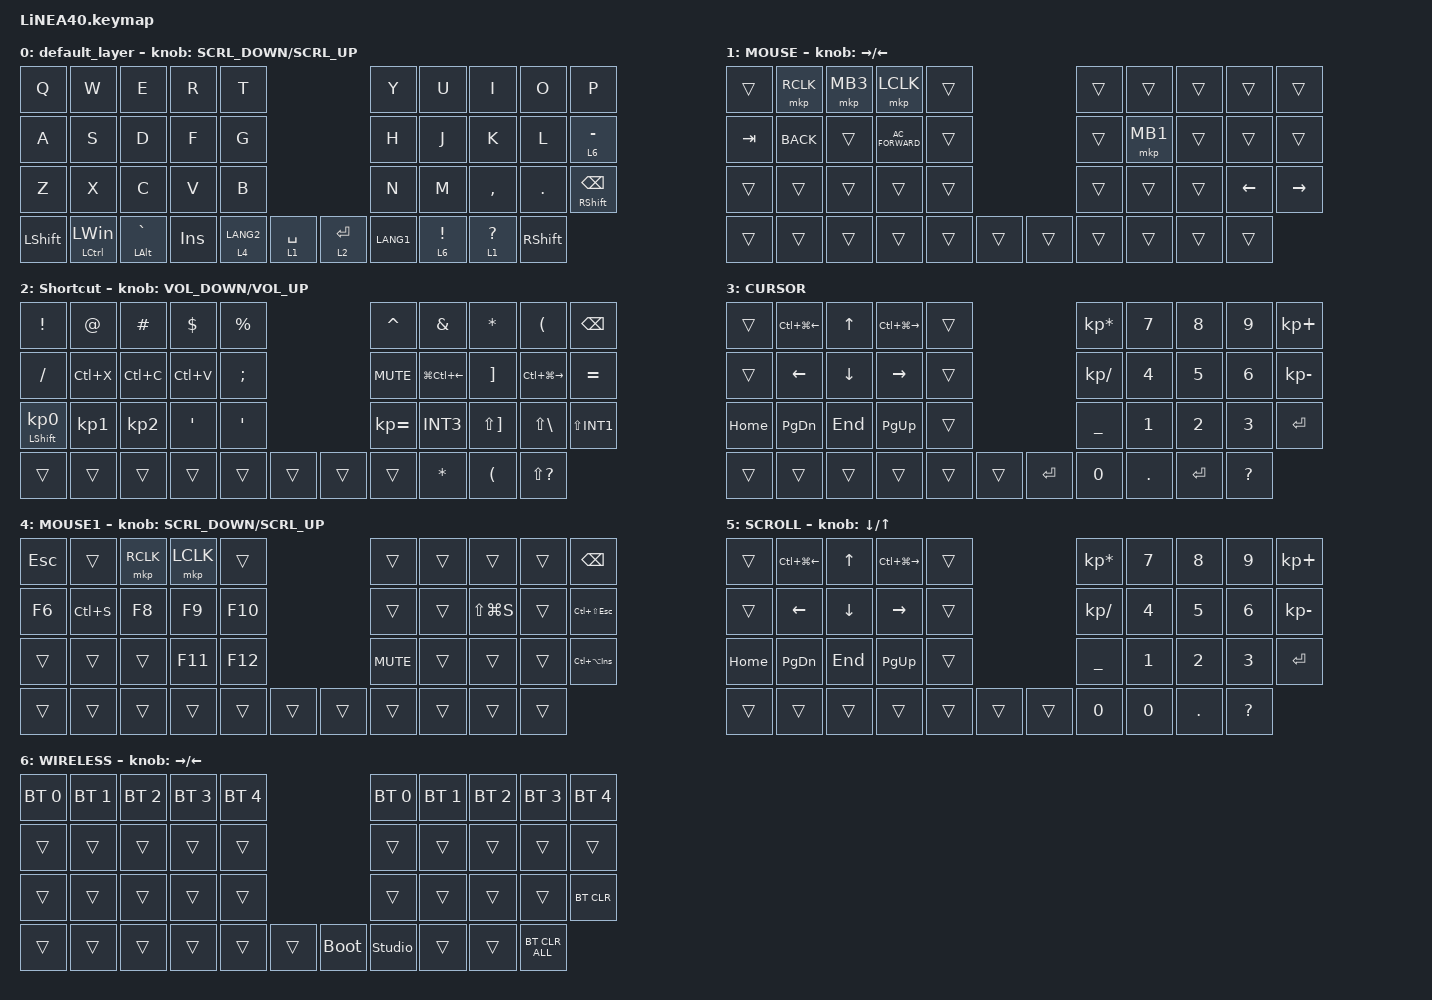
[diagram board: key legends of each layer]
#define ZMK_POINTING_DEFAULT_SCRL_VAL 150

#include <dt-bindings/zmk/input_transform.h>
#include <input/processors.dtsi>
#include <zephyr/dt-bindings/input/input-event-codes.h>
#include <behaviors.dtsi>
#include <dt-bindings/zmk/bt.h>
#include <dt-bindings/zmk/keys.h>
#include <dt-bindings/zmk/pointing.h>

#define MOUSE 1
#define MARK 2
#define CURSOR 3
#define FUNCTION 4
#define SCROLL 5
#define WIRELESS 6

//mouse cursol

&mmv {
    delay-ms = <20>;
    trigger-period-ms = <5>;
    time-to-max-speed-ms = <100>;
    acceleration-exponent = <2>;
};

//mouse scroll

&msc {
    delay-ms = <3>;
    trigger-period-ms = <3>;
    time-to-max-speed-ms = <100>;
    acceleration-exponent = <0>;
};

/ {
    input_processors {
        zip_wheel_scaler: zip_wheel_scaler {
            compatible = "zmk,input-processor-scaler";
            #input-processor-cells = <2>;
            type = <INPUT_EV_REL>;
            codes = <INPUT_REL_WHEEL>;
            track-remainders;
        };
    };
};

&msc_input_listener {
    speed_up {
        layers = <FUNCTION>;
        input-processors = <&zip_wheel_scaler 3 1>; //スクロールを3倍速にする
    };
};

&trackball_listener {
    scroller {
        layers = <SCROLL>;
        input-processors =
            <&zip_xy_transform INPUT_TRANSFORM_Y_INVERT>,
            //スクロール方向を逆転,,,,,,,,,,,,,,,,,,,
            <&zip_xy_to_scroll_mapper>;
    };
};

/ {
    combos {
        compatible = "zmk,combos";

        DeleteKey {
            bindings = <&kp DEL>;
            key-positions = <7 8>;
        };

        InsertKey {
            bindings = <&kp INS>;
            key-positions = <6 7>;
        };

        CenterClick {
            bindings = <&mkp MB3>;
            key-positions = <17 16>;
        };

        RightClick {
            bindings = <&mkp MB2>;
            key-positions = <18 17>;
        };

        PrevClick {
            bindings = <&mkp MB4>;
            key-positions = <27 28>;
        };

        ClickNext {
            bindings = <&mkp MB5>;
            key-positions = <26 27>;
        };

        kana {
            bindings = <&kp INT_KANA>;
            key-positions = <12 13>;
        };

        eisuu {
            bindings = <&kp INTERNATIONAL_5>;
            key-positions = <11 12>;
        };

        backspace {
            bindings = <&kp BACKSPACE>;
            key-positions = <8 9>;
        };

        leftclick {
            bindings = <&mkp LCLK>;
            key-positions = <15 16>;
        };
    };

    behaviors {
        re_kp: sensor_rotate_kp {
            compatible = "zmk,behavior-sensor-rotate-var";
            #sensor-binding-cells = <2>;
            bindings = <&kp>, <&kp>;
        };

        mouse_scrl: mouse_wheel_scrl {
            compatible = "zmk,behavior-sensor-rotate-var";
            #sensor-binding-cells = <2>;
            bindings = <&msc>, <&msc>;

            tap-ms = <20>;
        };
    };

    keymap {
        compatible = "zmk,keymap";

        default_layer {
            bindings = <
&kp Q           &kp W                      &kp E               &kp R    &kp T                                    &kp Y      &kp U  &kp I              &kp O           &kp P
&kp A           &kp S                      &kp D               &kp F    &kp G                                    &kp H      &kp J  &kp K              &kp L           &lt 6 MINUS
&kp Z           &kp X                      &kp C               &kp V    &kp B                                    &kp N      &kp M  &kp COMMA          &kp DOT         &mt RIGHT_SHIFT BACKSPACE
&kp LEFT_SHIFT  &mt LEFT_CONTROL LEFT_WIN  &mt LEFT_ALT GRAVE  &kp INS  &lt 4 LANG2  &lt 1 SPACE    &lt 2 ENTER  &kp LANG1         &lt 6 EXCLAMATION  &lt 1 QUESTION  &kp RIGHT_SHIFT
            >;

            sensor-bindings = <&mouse_scrl SCRL_DOWN SCRL_UP>;
        };

        //1

        MOUSE {
            bindings = <
&trans   &mkp RCLK   &mkp MB3  &mkp LCLK         &trans                    &trans  &trans    &trans  &trans    &trans
&kp TAB  &kp K_BACK  &trans    &kp C_AC_FORWARD  &trans                    &trans  &mkp MB1  &trans  &trans    &trans
&trans   &trans      &trans    &trans            &trans                    &trans  &trans    &trans  &kp LEFT  &kp RIGHT
&trans   &trans      &trans    &trans            &trans  &trans    &trans  &trans            &trans  &trans    &trans
            >;

            sensor-bindings = <&inc_dec_kp RIGHT LEFT>;
        };

        //2

        Shortcut {
            bindings = <
&kp EXCLAMATION             &kp AT           &kp HASH         &kp DOLLAR  &kp PERCENT                      &kp CARET     &kp AMPERSAND           &kp ASTERISK           &kp LEFT_PARENTHESIS     &kp BACKSPACE
&kp SLASH                   &kp LC(X)        &kp LC(C)        &kp LC(V)   &kp SEMICOLON                    &kp C_MUTE    &kp LG(LC(LEFT_ARROW))  &kp RIGHT_BRACKET      &kp LC(LG(RIGHT_ARROW))  &kp EQUAL
&mt LEFT_SHIFT KP_NUMBER_0  &kp KP_NUMBER_1  &kp KP_NUMBER_2  &kp APOS    &kp SQT                          &kp KP_EQUAL  &kp INT3                &kp LS(RIGHT_BRACKET)  &kp LS(BACKSLASH)        &kp LS(INT1)
&trans                      &trans           &trans           &trans      &trans         &trans    &trans  &trans                                &kp ASTERISK           &kp LEFT_PARENTHESIS     &kp LS(QUESTION)
            >;

            sensor-bindings = <&re_kp C_VOLUME_DOWN C_VOLUME_UP>;
        };

        //3

        CURSOR {
            bindings = <
&trans    &kp LC(LG(LEFT_ARROW))  &kp UP_ARROW  &kp LC(LG(RIGHT_ARROW))  &trans                       &kp KP_MULTIPLY  &kp NUMBER_7  &kp NUMBER_8  &kp NUMBER_9  &kp KP_PLUS
&trans    &kp LEFT_ARROW          &kp DOWN      &kp RIGHT_ARROW          &trans                       &kp KP_SLASH     &kp NUMBER_4  &kp NUMBER_5  &kp NUMBER_6  &kp KP_MINUS
&kp HOME  &kp PAGE_DOWN           &kp END       &kp PAGE_UP              &trans                       &kp UNDER        &kp NUMBER_1  &kp NUMBER_2  &kp NUMBER_3  &kp ENTER
&trans    &trans                  &trans        &trans                   &trans  &trans    &kp ENTER  &kp NUMBER_0                   &kp DOT       &kp ENTER     &kp QUESTION
            >;
        };

        //4

        MOUSE1 {
            bindings = <
&kp ESC  &trans     &mkp RCLK  &mkp LCLK  &trans                     &trans      &trans  &trans         &trans  &kp BACKSPACE
&kp F6   &kp LC(S)  &kp F8     &kp F9     &kp F10                    &trans      &trans  &kp LS(LG(S))  &trans  &kp LC(LS(ESCAPE))
&trans   &trans     &trans     &kp F11    &kp F12                    &kp C_MUTE  &trans  &trans         &trans  &kp LC(LA(INS))
&trans   &trans     &trans     &trans     &trans   &trans    &trans  &trans              &trans         &trans  &trans
            >;

            sensor-bindings = <&mouse_scrl SCRL_DOWN SCRL_UP>;
        };

        //5

        SCROLL {
            bindings = <
&trans    &kp LC(LG(LEFT_ARROW))  &kp UP_ARROW  &kp LC(LG(RIGHT_ARROW))  &trans                    &kp KP_MULTIPLY  &kp NUMBER_7  &kp NUMBER_8  &kp NUMBER_9  &kp KP_PLUS
&trans    &kp LEFT_ARROW          &kp DOWN      &kp RIGHT_ARROW          &trans                    &kp KP_SLASH     &kp NUMBER_4  &kp NUMBER_5  &kp NUMBER_6  &kp KP_MINUS
&kp HOME  &kp PAGE_DOWN           &kp END       &kp PAGE_UP              &trans                    &kp UNDER        &kp NUMBER_1  &kp NUMBER_2  &kp NUMBER_3  &kp ENTER
&trans    &trans                  &trans        &trans                   &trans  &trans    &trans  &kp NUMBER_0                   &kp NUMBER_0  &kp DOT       &kp QUESTION
            >;

            sensor-bindings = <&inc_dec_kp DOWN_ARROW UP_ARROW>;
        };

        //6

        WIRELESS {
            bindings = <
&bt BT_SEL 0  &bt BT_SEL 1  &bt BT_SEL 2  &bt BT_SEL 3  &bt BT_SEL 4                         &bt BT_SEL 0    &bt BT_SEL 1  &bt BT_SEL 2  &bt BT_SEL 3  &bt BT_SEL 4
&trans        &trans        &trans        &trans        &trans                               &trans          &trans        &trans        &trans        &trans
&trans        &trans        &trans        &trans        &trans                               &trans          &trans        &trans        &trans        &bt BT_CLR
&trans        &trans        &trans        &trans        &trans        &trans    &bootloader  &studio_unlock                &trans        &trans        &bt BT_CLR_ALL
            >;

            sensor-bindings = <&inc_dec_kp RIGHT_ARROW LEFT_ARROW>;
        };
    };
};
